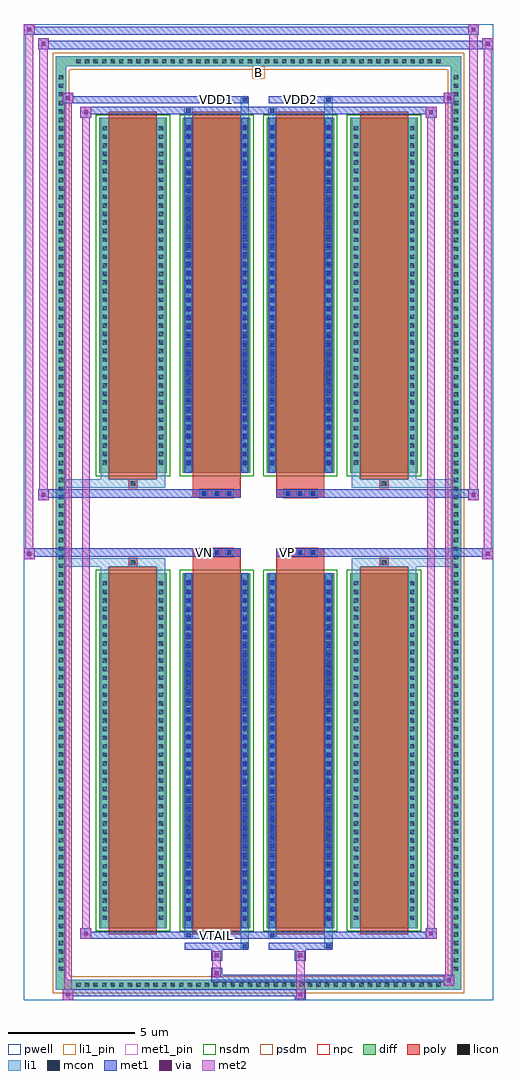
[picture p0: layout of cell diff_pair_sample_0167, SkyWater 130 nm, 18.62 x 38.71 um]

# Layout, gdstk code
import gdstk
lib = gdstk.Library(unit=1e-6, precision=5e-09)
def R(c, l, rs):  # rectangles x0, y0, x1, y1
    for r in rs: c.add(gdstk.rectangle(r[:2], r[2:], *l))
def A(c, l, x, y, w, h, nx, ny, dx, dy):  # array of equal rectangles
    R(c, l, [(x+i*dx, y+j*dy, x+i*dx+w, y+j*dy+h) for i in range(nx) for j in range(ny)])
def P(c, l, *ps):  # polygons
    for p in ps: c.add(gdstk.Polygon(p, *l))
pwell = (64, 44)
diff = (65, 20)
poly = (66, 20)
licon = (66, 44)
li1_pin = (67, 16)
li1 = (67, 20)
mcon = (67, 44)
met1_pin = (68, 16)
met1 = (68, 20)
via = (68, 44)
met2 = (69, 20)
nsdm = (93, 44)
psdm = (94, 20)
npc = (95, 20)

diff_pair_sample_0167 = lib.new_cell('diff_pair_sample_0167')
R(diff_pair_sample_0167, pwell, [(-9.31,-18.92,9.31,19.79), (-6.63,-17.11,-0.01,-0.805), (0.01,-17.11,6.63,-0.805), (-6.63,0.805,-0.01,17.11), (0.01,0.805,6.63,17.11)])
A(diff_pair_sample_0167, diff, -7.345, -18.52, 0.41, 0.41, 43, 2, 0.34, 36.63)
A(diff_pair_sample_0167, diff, -8.04, -17.885, 0.41, 0.41, 1, 105, 0, 0.34)
A(diff_pair_sample_0167, diff, 7.63, -17.885, 0.41, 0.41, 1, 105, 0, 0.34)
A(diff_pair_sample_0167, diff, -6.32, -16.065, 2.68, 14.08, 4, 2, 3.32, 18.05)
R(diff_pair_sample_0167, diff, [(-7.345,-18.52,7.345,-18.11), (-8.04,-17.885,-7.63,17.885), (7.63,-17.885,8.04,17.885), (-7.345,18.11,7.345,18.52)])
P(diff_pair_sample_0167, diff, [(8.04,18.52),(-8.04,18.52),(-8.04,-18.11),(-7.63,-18.11),(-7.63,18.11),(7.63,18.11),(7.63,-18.11),(-7.63,-18.11),(-8.04,-18.11),(-8.04,-18.52),(8.04,-18.52)])
A(diff_pair_sample_0167, poly, -5.93, -16.315, 1.9, 14.58, 4, 2, 3.32, 18.05)
A(diff_pair_sample_0167, poly, -2.325, -1.335, 0.33, 0.33, 3, 2, 0.5, 2.34)
A(diff_pair_sample_0167, poly, 0.995, -1.335, 0.33, 0.33, 3, 2, 0.5, 2.34)
R(diff_pair_sample_0167, poly, [(-5.145,-1.735,-4.815,-1.405), (-5.145,-1.735,-4.815,-1.405), (-2.61,-1.735,-0.71,-1.335), (0.71,-1.735,2.61,-1.335), (4.815,-1.735,5.145,-1.405), (4.815,-1.735,5.145,-1.405), (-2.61,-1.335,-0.71,-1.005), (0.71,-1.335,2.61,-1.005), (-2.61,1.005,-0.71,1.335), (0.71,1.005,2.61,1.335), (-2.61,1.335,-0.71,1.735), (0.71,1.335,2.61,1.735), (-5.145,1.405,-4.815,1.735), (-5.145,1.405,-4.815,1.735), (4.815,1.405,5.145,1.735), (4.815,1.405,5.145,1.735)])
A(diff_pair_sample_0167, licon, -7.225, -18.4, 0.17, 0.17, 43, 2, 0.34, 36.63)
A(diff_pair_sample_0167, licon, -7.92, -17.765, 0.17, 0.17, 1, 105, 0, 0.34)
A(diff_pair_sample_0167, licon, 7.75, -17.765, 0.17, 0.17, 1, 105, 0, 0.34)
A(diff_pair_sample_0167, licon, -6.18, -15.74, 0.17, 0.17, 1, 40, 0, 0.34)
A(diff_pair_sample_0167, licon, -3.95, -15.74, 0.17, 0.17, 1, 40, 0, 0.34)
A(diff_pair_sample_0167, licon, -2.86, -15.74, 0.17, 0.17, 1, 40, 0, 0.34)
A(diff_pair_sample_0167, licon, -0.63, -15.74, 0.17, 0.17, 1, 40, 0, 0.34)
A(diff_pair_sample_0167, licon, 0.46, -15.74, 0.17, 0.17, 1, 40, 0, 0.34)
A(diff_pair_sample_0167, licon, 2.69, -15.74, 0.17, 0.17, 1, 40, 0, 0.34)
A(diff_pair_sample_0167, licon, 3.78, -15.74, 0.17, 0.17, 1, 40, 0, 0.34)
A(diff_pair_sample_0167, licon, 6.01, -15.74, 0.17, 0.17, 1, 40, 0, 0.34)
A(diff_pair_sample_0167, licon, -2.245, -1.255, 0.17, 0.17, 3, 2, 0.5, 2.34)
A(diff_pair_sample_0167, licon, 1.075, -1.255, 0.17, 0.17, 3, 2, 0.5, 2.34)
A(diff_pair_sample_0167, licon, -6.18, 2.31, 0.17, 0.17, 1, 40, 0, 0.34)
A(diff_pair_sample_0167, licon, -3.95, 2.31, 0.17, 0.17, 1, 40, 0, 0.34)
A(diff_pair_sample_0167, licon, -2.86, 2.31, 0.17, 0.17, 1, 40, 0, 0.34)
A(diff_pair_sample_0167, licon, -0.63, 2.31, 0.17, 0.17, 1, 40, 0, 0.34)
A(diff_pair_sample_0167, licon, 0.46, 2.31, 0.17, 0.17, 1, 40, 0, 0.34)
A(diff_pair_sample_0167, licon, 2.69, 2.31, 0.17, 0.17, 1, 40, 0, 0.34)
A(diff_pair_sample_0167, licon, 3.78, 2.31, 0.17, 0.17, 1, 40, 0, 0.34)
A(diff_pair_sample_0167, licon, 6.01, 2.31, 0.17, 0.17, 1, 40, 0, 0.34)
R(diff_pair_sample_0167, licon, [(-5.065,-1.655,-4.895,-1.485), (4.895,-1.655,5.065,-1.485), (-5.065,1.485,-4.895,1.655), (4.895,1.485,5.065,1.655)])
R(diff_pair_sample_0167, li1_pin, [(-0.25,17.61,0.25,18.11)])
A(diff_pair_sample_0167, li1, -7.305, -18.48, 0.33, 0.33, 43, 2, 0.34, 36.63)
A(diff_pair_sample_0167, li1, -8, -17.845, 0.33, 0.33, 1, 105, 0, 0.34)
A(diff_pair_sample_0167, li1, 7.67, -17.845, 0.33, 0.33, 1, 105, 0, 0.34)
A(diff_pair_sample_0167, li1, -6.26, -15.82, 0.33, 0.33, 1, 40, 0, 0.34)
A(diff_pair_sample_0167, li1, -4.03, -15.82, 0.33, 0.33, 1, 40, 0, 0.34)
A(diff_pair_sample_0167, li1, -2.94, -15.82, 0.33, 0.33, 1, 40, 0, 0.34)
A(diff_pair_sample_0167, li1, -0.71, -15.82, 0.33, 0.33, 1, 40, 0, 0.34)
A(diff_pair_sample_0167, li1, 0.38, -15.82, 0.33, 0.33, 1, 40, 0, 0.34)
A(diff_pair_sample_0167, li1, 2.61, -15.82, 0.33, 0.33, 1, 40, 0, 0.34)
A(diff_pair_sample_0167, li1, 3.7, -15.82, 0.33, 0.33, 1, 40, 0, 0.34)
A(diff_pair_sample_0167, li1, 5.93, -15.82, 0.33, 0.33, 1, 40, 0, 0.34)
A(diff_pair_sample_0167, li1, -2.86, -15.77, 0.17, 0.17, 1, 38, 0, 0.36)
A(diff_pair_sample_0167, li1, -0.63, -15.77, 0.17, 0.17, 1, 38, 0, 0.36)
A(diff_pair_sample_0167, li1, 0.46, -15.77, 0.17, 0.17, 1, 38, 0, 0.36)
A(diff_pair_sample_0167, li1, 2.69, -15.77, 0.17, 0.17, 1, 38, 0, 0.36)
A(diff_pair_sample_0167, li1, -2.325, -1.335, 0.33, 0.33, 3, 2, 0.5, 2.34)
A(diff_pair_sample_0167, li1, 0.995, -1.335, 0.33, 0.33, 3, 2, 0.5, 2.34)
A(diff_pair_sample_0167, li1, -6.26, 2.23, 0.33, 0.33, 1, 40, 0, 0.34)
A(diff_pair_sample_0167, li1, -4.03, 2.23, 0.33, 0.33, 1, 40, 0, 0.34)
A(diff_pair_sample_0167, li1, -2.94, 2.23, 0.33, 0.33, 1, 40, 0, 0.34)
A(diff_pair_sample_0167, li1, -0.71, 2.23, 0.33, 0.33, 1, 40, 0, 0.34)
A(diff_pair_sample_0167, li1, 0.38, 2.23, 0.33, 0.33, 1, 40, 0, 0.34)
A(diff_pair_sample_0167, li1, 2.61, 2.23, 0.33, 0.33, 1, 40, 0, 0.34)
A(diff_pair_sample_0167, li1, 3.7, 2.23, 0.33, 0.33, 1, 40, 0, 0.34)
A(diff_pair_sample_0167, li1, 5.93, 2.23, 0.33, 0.33, 1, 40, 0, 0.34)
A(diff_pair_sample_0167, li1, -2.86, 2.28, 0.17, 0.17, 1, 38, 0, 0.36)
A(diff_pair_sample_0167, li1, -0.63, 2.28, 0.17, 0.17, 1, 38, 0, 0.36)
A(diff_pair_sample_0167, li1, 0.46, 2.28, 0.17, 0.17, 1, 38, 0, 0.36)
A(diff_pair_sample_0167, li1, 2.69, 2.28, 0.17, 0.17, 1, 38, 0, 0.36)
R(diff_pair_sample_0167, li1, [(-8.04,-18.52,-7.63,-18.11), (-8.04,-18.52,-7.63,-18.11), (-7.63,-18.52,7.63,-18.11), (7.63,-18.52,8.04,-18.11), (7.63,-18.52,8.04,-18.11), (-8.04,-18.11,-7.63,18.11), (7.63,-18.11,8.04,18.11), (-0.71,-16.87,-0.38,-16.065), (-0.63,-16.87,-0.46,-16.7), (2.61,-16.87,2.94,-16.065), (2.69,-16.87,2.86,-16.7), (-2.94,-16.44,-2.61,-16.065), (-2.86,-16.44,-2.69,-16.27), (0.38,-16.44,0.71,-16.065), (0.46,-16.44,0.63,-16.27), (-6.26,-16.065,-5.93,-1.985), (-4.03,-16.065,-3.7,-1.985), (-2.94,-16.065,-2.61,-1.985), (-0.71,-16.065,-0.38,-1.985), (0.38,-16.065,0.71,-1.985), (2.61,-16.065,2.94,-1.985), (3.7,-16.065,4.03,-1.985), (5.93,-16.065,6.26,-1.985), (-2.86,-15.77,-2.69,-2.28), (-0.63,-15.77,-0.46,-2.28), (0.46,-15.77,0.63,-2.28), (2.69,-15.77,2.86,-2.28), (-6.26,-1.985,-5.93,-1.405), (-4.03,-1.985,-3.7,-1.405), (3.7,-1.985,4.03,-1.405), (5.93,-1.985,6.26,-1.405), (-8.04,-1.735,-5.145,-1.405), (-6.26,-1.735,-5.145,-1.405), (-5.145,-1.735,-4.815,-1.405), (-4.815,-1.735,-3.7,-1.405), (3.7,-1.735,4.815,-1.405), (4.815,-1.735,5.145,-1.405), (4.815,-1.735,8.04,-1.405), (5.145,-1.735,6.26,-1.405), (-8.04,1.405,-5.145,1.735), (-6.26,1.405,-5.145,1.735), (-6.26,1.405,-5.93,1.985), (-5.145,1.405,-4.815,1.735), (-4.815,1.405,-3.7,1.735), (-4.03,1.405,-3.7,1.985), (3.7,1.405,4.815,1.735), (3.7,1.405,4.03,1.985), (4.815,1.405,5.145,1.735), (4.815,1.405,8.04,1.735), (5.145,1.405,6.26,1.735), (5.93,1.405,6.26,1.985), (-6.26,1.985,-5.93,16.065), (-4.03,1.985,-3.7,16.065), (-2.94,1.985,-2.61,16.065), (-0.71,1.985,-0.38,16.065), (0.38,1.985,0.71,16.065), (2.61,1.985,2.94,16.065), (3.7,1.985,4.03,16.065), (5.93,1.985,6.26,16.065), (-2.86,2.28,-2.69,15.77), (-0.63,2.28,-0.46,15.77), (0.46,2.28,0.63,15.77), (2.69,2.28,2.86,15.77), (-2.94,16.065,-2.61,16.44), (-0.71,16.065,-0.38,16.87), (0.38,16.065,0.71,16.44), (2.61,16.065,2.94,16.87), (-2.86,16.27,-2.69,16.44), (0.46,16.27,0.63,16.44), (-0.63,16.7,-0.46,16.87), (2.69,16.7,2.86,16.87), (-8.04,18.11,-7.63,18.52), (-8.04,18.11,-7.63,18.52), (-7.63,18.11,7.63,18.52), (7.63,18.11,8.04,18.52), (7.63,18.11,8.04,18.52)])
A(diff_pair_sample_0167, mcon, -2.86, -15.77, 0.17, 0.17, 1, 38, 0, 0.36)
A(diff_pair_sample_0167, mcon, -0.63, -15.77, 0.17, 0.17, 1, 38, 0, 0.36)
A(diff_pair_sample_0167, mcon, 0.46, -15.77, 0.17, 0.17, 1, 38, 0, 0.36)
A(diff_pair_sample_0167, mcon, 2.69, -15.77, 0.17, 0.17, 1, 38, 0, 0.36)
A(diff_pair_sample_0167, mcon, -2.245, -1.255, 0.17, 0.17, 3, 2, 0.5, 2.34)
A(diff_pair_sample_0167, mcon, 1.075, -1.255, 0.17, 0.17, 3, 2, 0.5, 2.34)
A(diff_pair_sample_0167, mcon, -2.86, 2.28, 0.17, 0.17, 1, 38, 0, 0.36)
A(diff_pair_sample_0167, mcon, -0.63, 2.28, 0.17, 0.17, 1, 38, 0, 0.36)
A(diff_pair_sample_0167, mcon, 0.46, 2.28, 0.17, 0.17, 1, 38, 0, 0.36)
A(diff_pair_sample_0167, mcon, 2.69, 2.28, 0.17, 0.17, 1, 38, 0, 0.36)
R(diff_pair_sample_0167, mcon, [(-0.63,-16.87,-0.46,-16.7), (2.69,-16.87,2.86,-16.7), (-2.86,-16.44,-2.69,-16.27), (0.46,-16.44,0.63,-16.27), (-2.86,16.27,-2.69,16.44), (0.46,16.27,0.63,16.44), (-0.63,16.7,-0.46,16.87), (2.69,16.7,2.86,16.87)])
R(diff_pair_sample_0167, met1_pin, [(-1.795,-16.48,-1.525,-16.21), (-2.295,-1.295,-2.025,-1.025), (1.025,-1.295,1.295,-1.025), (-1.795,16.66,-1.525,16.93), (1.525,16.66,1.795,16.93)])
A(diff_pair_sample_0167, met1, -2.92, -15.83, 0.29, 0.29, 1, 38, 0, 0.36)
A(diff_pair_sample_0167, met1, -0.69, -15.83, 0.29, 0.29, 1, 38, 0, 0.36)
A(diff_pair_sample_0167, met1, 0.4, -15.83, 0.29, 0.29, 1, 38, 0, 0.36)
A(diff_pair_sample_0167, met1, 2.63, -15.83, 0.29, 0.29, 1, 38, 0, 0.36)
A(diff_pair_sample_0167, met1, -2.305, -1.315, 0.29, 0.29, 3, 2, 0.5, 2.34)
A(diff_pair_sample_0167, met1, 1.015, -1.315, 0.29, 0.29, 3, 2, 0.5, 2.34)
A(diff_pair_sample_0167, met1, -2.92, 2.22, 0.29, 0.29, 1, 38, 0, 0.36)
A(diff_pair_sample_0167, met1, -0.69, 2.22, 0.29, 0.29, 1, 38, 0, 0.36)
A(diff_pair_sample_0167, met1, 0.4, 2.22, 0.29, 0.29, 1, 38, 0, 0.36)
A(diff_pair_sample_0167, met1, 2.63, 2.22, 0.29, 0.29, 1, 38, 0, 0.36)
R(diff_pair_sample_0167, met1, [(-7.77,-18.92,-7.34,-18.49), (1.445,-18.92,1.875,-18.49), (-7.77,-18.78,1.875,-18.49), (7.34,-18.35,7.77,-17.92), (-1.875,-18.21,7.77,-17.92), (-1.875,-18.07,-1.445,-17.64), (-1.875,-17.36,-1.445,-16.93), (1.445,-17.36,1.875,-16.93), (-2.92,-16.93,-0.4,-16.64), (-0.69,-16.93,-0.4,-16.64), (0.4,-16.93,2.92,-16.64), (2.63,-16.93,2.92,-16.64), (-7.06,-16.5,-6.63,-16.07), (-7.06,-16.5,-2.92,-16.21), (-2.92,-16.5,-2.63,-16.21), (-2.92,-16.5,-0.4,-16.21), (-0.4,-16.5,0.4,-16.21), (0.4,-16.5,0.69,-16.21), (0.4,-16.5,2.92,-16.21), (2.92,-16.5,7.06,-16.21), (6.63,-16.5,7.06,-16.07), (-2.92,-16.065,-2.63,-1.985), (-0.69,-16.065,-0.4,-1.985), (0.4,-16.065,0.69,-1.985), (2.63,-16.065,2.92,-1.985), (-9.31,-1.435,-8.88,-1.005), (8.88,-1.435,9.31,-1.005), (-9.31,-1.335,-0.71,-1.005), (-2.61,-1.335,-0.71,-1.005), (0.71,-1.335,2.61,-1.005), (0.71,-1.335,9.31,-1.005), (-8.74,0.905,-8.31,1.335), (8.31,0.905,8.74,1.335), (-8.74,1.005,-2.61,1.335), (-2.61,1.005,-0.71,1.335), (0.71,1.005,2.61,1.335), (2.61,1.005,8.74,1.335), (-2.92,1.985,-2.63,16.065), (-0.69,1.985,-0.4,16.065), (0.4,1.985,0.69,16.065), (2.63,1.985,2.92,16.065), (-7.06,16.07,-6.63,16.5), (6.63,16.07,7.06,16.5), (-7.06,16.21,-2.92,16.5), (-2.92,16.21,-2.63,16.5), (-2.92,16.21,-0.4,16.5), (-0.4,16.21,0.4,16.5), (0.4,16.21,0.69,16.5), (0.4,16.21,2.92,16.5), (2.92,16.21,7.06,16.5), (-7.77,16.64,-7.34,17.07), (-7.77,16.64,-2.92,16.93), (-2.92,16.64,-0.4,16.93), (-0.69,16.64,-0.4,16.93), (0.4,16.64,2.92,16.93), (2.63,16.64,2.92,16.93), (2.92,16.64,7.77,16.93), (7.34,16.64,7.77,17.07), (-8.74,18.79,-8.31,19.22), (-8.74,18.79,-6.63,19.12), (-6.63,18.79,6.63,19.12), (6.63,18.79,9.31,19.12), (8.88,18.79,9.31,19.22), (-9.31,19.36,-8.88,19.79), (-9.31,19.36,-6.63,19.69), (-6.63,19.36,6.63,19.69), (6.63,19.36,8.74,19.69), (8.31,19.36,8.74,19.79)])
R(diff_pair_sample_0167, via, [(-7.63,-18.78,-7.48,-18.63), (1.585,-18.78,1.735,-18.63), (7.48,-18.21,7.63,-18.06), (-1.735,-17.93,-1.585,-17.78), (-1.735,-17.22,-1.585,-17.07), (1.585,-17.22,1.735,-17.07), (-6.92,-16.36,-6.77,-16.21), (6.77,-16.36,6.92,-16.21), (-9.17,-1.295,-9.02,-1.145), (9.02,-1.295,9.17,-1.145), (-8.6,1.045,-8.45,1.195), (8.45,1.045,8.6,1.195), (-6.92,16.21,-6.77,16.36), (6.77,16.21,6.92,16.36), (-7.63,16.78,-7.48,16.93), (7.48,16.78,7.63,16.93), (-8.6,18.93,-8.45,19.08), (9.02,18.93,9.17,19.08), (-9.17,19.5,-9.02,19.65), (8.45,19.5,8.6,19.65)])
R(diff_pair_sample_0167, met2, [(-7.77,-18.92,-7.34,-18.49), (-7.7,-18.92,-7.41,17.07), (-7.41,-18.92,-7.34,-18.49), (-7.72,-18.87,-7.39,-18.54), (1.495,-18.87,1.825,-18.54), (1.495,-18.54,1.825,-17.31), (7.34,-18.35,7.77,-17.92), (7.41,-18.35,7.7,17.07), (7.7,-18.35,7.77,-17.92), (7.39,-18.3,7.72,-17.97), (-1.825,-18.02,-1.495,-17.69), (-1.825,-17.69,-1.495,-17.31), (-1.825,-17.31,-1.495,-16.98), (1.495,-17.31,1.825,-16.98), (-7.06,-16.5,-6.63,-16.07), (-6.99,-16.5,-6.7,16.5), (-6.7,-16.5,-6.63,-16.07), (6.63,-16.5,7.06,-16.07), (6.7,-16.5,6.99,16.5), (6.99,-16.5,7.06,-16.07), (-7.01,-16.45,-6.68,-16.12), (6.68,-16.45,7.01,-16.12), (-9.31,-1.435,-8.88,-1.005), (-9.26,-1.435,-8.93,19.79), (-8.93,-1.435,-8.88,-1.005), (8.88,-1.435,9.31,-1.005), (8.93,-1.435,9.26,19.22), (9.26,-1.435,9.31,-1.005), (-9.26,-1.385,-8.93,-1.055), (8.93,-1.385,9.26,-1.055), (-8.74,0.905,-8.31,1.335), (-8.69,0.905,-8.36,19.22), (-8.36,0.905,-8.31,1.335), (8.31,0.905,8.74,1.335), (8.36,0.905,8.69,19.79), (8.69,0.905,8.74,1.335), (-8.69,0.955,-8.36,1.285), (8.36,0.955,8.69,1.285), (-7.06,16.07,-6.63,16.5), (-6.7,16.07,-6.63,16.5), (6.63,16.07,7.06,16.5), (6.99,16.07,7.06,16.5), (-7.01,16.12,-6.68,16.45), (6.68,16.12,7.01,16.45), (-7.77,16.64,-7.34,17.07), (-7.41,16.64,-7.34,17.07), (7.34,16.64,7.77,17.07), (7.7,16.64,7.77,17.07), (-7.72,16.69,-7.39,17.02), (7.39,16.69,7.72,17.02), (-8.74,18.79,-8.31,19.22), (-8.36,18.79,-8.31,19.22), (8.88,18.79,9.31,19.22), (9.26,18.79,9.31,19.22), (-8.69,18.84,-8.36,19.17), (8.93,18.84,9.26,19.17), (-9.31,19.36,-8.88,19.79), (-8.93,19.36,-8.88,19.79), (8.31,19.36,8.74,19.79), (8.69,19.36,8.74,19.79), (-9.26,19.41,-8.93,19.74), (8.36,19.41,8.69,19.74)])
A(diff_pair_sample_0167, nsdm, -6.45, -16.195, 2.94, 14.34, 4, 2, 3.32, 18.05)
P(diff_pair_sample_0167, psdm, [(8.17,18.65),(-8.17,18.65),(-8.17,-17.98),(-7.5,-17.98),(-7.5,17.98),(7.5,17.98),(7.5,-17.98),(-7.5,-17.98),(-8.17,-17.98),(-8.17,-18.65),(8.17,-18.65)])
A(diff_pair_sample_0167, npc, -2.345, -1.355, 0.37, 0.37, 3, 2, 0.5, 2.34)
A(diff_pair_sample_0167, npc, 0.975, -1.355, 0.37, 0.37, 3, 2, 0.5, 2.34)
R(diff_pair_sample_0167, npc, [(-5.165,-1.755,-4.795,-1.385), (4.795,-1.755,5.165,-1.385), (-2.345,-1.355,-1.475,-0.985), (-2.345,-1.355,-1.475,-0.985), (-1.845,-1.355,-0.975,-0.985), (-1.845,-1.355,-0.975,-0.985), (0.975,-1.355,1.845,-0.985), (0.975,-1.355,1.845,-0.985), (1.475,-1.355,2.345,-0.985), (1.475,-1.355,2.345,-0.985), (-2.345,0.985,-1.475,1.355), (-2.345,0.985,-1.475,1.355), (-1.845,0.985,-0.975,1.355), (-1.845,0.985,-0.975,1.355), (0.975,0.985,1.845,1.355), (0.975,0.985,1.845,1.355), (1.475,0.985,2.345,1.355), (1.475,0.985,2.345,1.355), (-5.165,1.385,-4.795,1.755), (4.795,1.385,5.165,1.755)])
diff_pair_sample_0167.add(gdstk.Label('VTAIL', (-1.66,-16.345), layer=68, texttype=5))
diff_pair_sample_0167.add(gdstk.Label('VN', (-2.16,-1.16), layer=68, texttype=5))
diff_pair_sample_0167.add(gdstk.Label('VP', (1.16,-1.16), layer=68, texttype=5))
diff_pair_sample_0167.add(gdstk.Label('B', (0,17.86), layer=67, texttype=5))
diff_pair_sample_0167.add(gdstk.Label('VDD2', (1.66,16.795), layer=68, texttype=5))
diff_pair_sample_0167.add(gdstk.Label('VDD1', (-1.66,16.795), layer=68, texttype=5))

lib.write_gds('diff_pair_sample_0167.gds')
